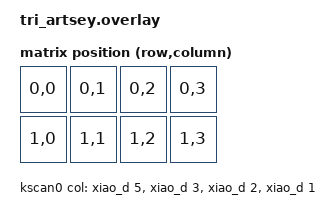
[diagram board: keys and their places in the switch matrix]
/*
 * Copyright (c) 2022 The ZMK Contributors
 *
 * SPDX-License-Identifier: MIT
 */

#include <dt-bindings/zmk/matrix_transform.h>

/ {
    chosen {
        zmk,kscan = &kscan0;
        zmk,matrix_transform = &default_transform;
    };

    default_transform: keymap_transform_0 {
        compatible = "zmk,matrix-transform";
        columns = <4>;
        rows = <2>;
        map = <
                RC(0,0) RC(0,1) RC(0,2) RC(0,3)
                RC(1,0) RC(1,1) RC(1,2) RC(1,3)
        >;
    };


    kscan0: kscan_0 {
        compatible = "zmk,kscan-gpio-matrix";
        label = "KSCAN";
        diode-direction = "col2row";

        col-gpios
            = <&xiao_d 5 GPIO_ACTIVE_HIGH>
            , <&xiao_d 3 GPIO_ACTIVE_HIGH>
            , <&xiao_d 2 GPIO_ACTIVE_HIGH>
            , <&xiao_d 1 GPIO_ACTIVE_HIGH>
            ;

        row-gpios
            , <&xiao_d 9 (GPIO_ACTIVE_HIGH | GPIO_PULL_DOWN)>
            , <&xiao_d 10 (GPIO_ACTIVE_HIGH | GPIO_PULL_DOWN)>
            ;
    };
};
